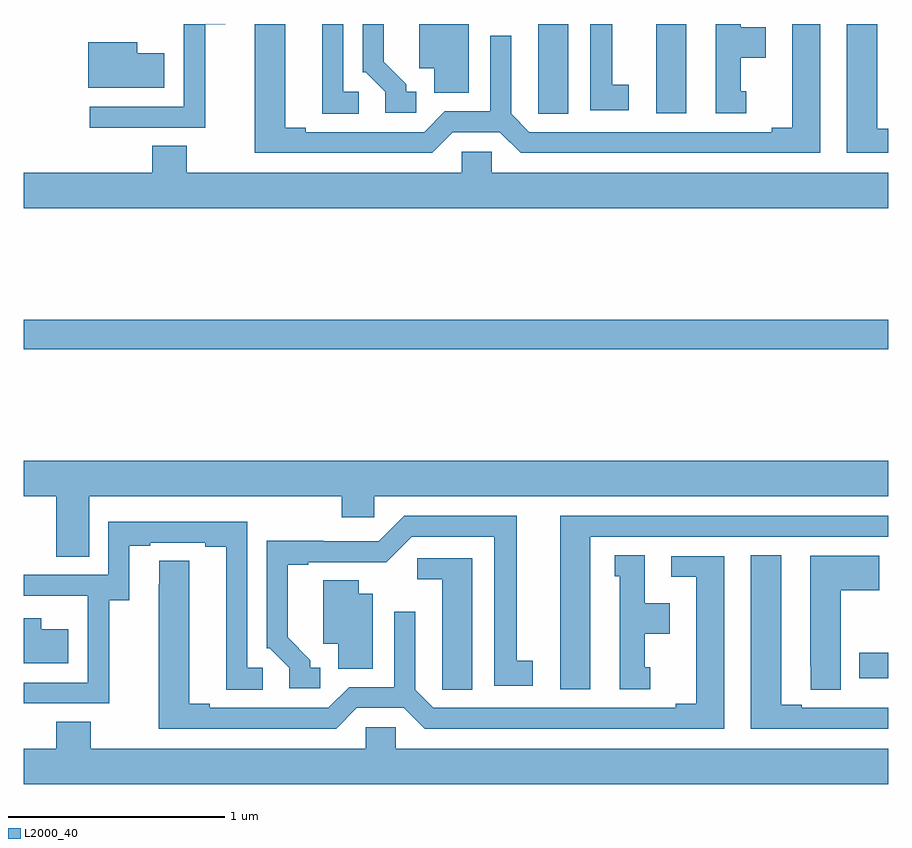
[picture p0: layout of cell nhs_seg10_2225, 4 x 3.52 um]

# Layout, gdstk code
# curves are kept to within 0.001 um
import gdstk
lib = gdstk.Library(unit=1e-6, precision=1e-09)
def R(c, l, rs):  # rectangles x0, y0, x1, y1
    for r in rs: c.add(gdstk.rectangle(r[:2], r[2:], *l))
def P(c, l, *ps):  # polygons
    for p in ps: c.add(gdstk.Polygon(p, *l))
L2000_40 = (2000, 40)

nhs_seg10_2225 = lib.new_cell('nhs_seg10_2225')
R(nhs_seg10_2225, L2000_40, [(232.865,1299.474,233,1299.591), (229,1300.996,233,1301.132), (231.926,1302.087,232.066,1302.5)])
P(nhs_seg10_2225, L2000_40, [(230.551,1302.186),(230.478,1302.186),(230.478,1302.5),(230.381,1302.5),(230.381,1302.085),(230.551,1302.085)],
  [(229.839,1302.499),(229.933,1302.499),(229.933,1302.5),(229.74,1302.5),(229.74,1302.117),(229.305,1302.117),(229.305,1302.021),(229.839,1302.021)],
  [(233,1302.015),(232.948,1302.015),(232.948,1302.5),(232.808,1302.5),(232.808,1301.904),(233,1301.904)],
  [(231.52,1302.5),(231.38,1302.5),(231.38,1302.193),(231.381,1302.193),(231.381,1302.085),(231.52,1302.085)],
  [(231.058,1302.5),(230.831,1302.5),(230.831,1302.296),(230.9,1302.296),(230.9,1302.181),(231.058,1302.181)],
  [(230.985,1302),(231.203,1302),(231.299,1301.904),(232.684,1301.904),(232.684,1302.5),(232.556,1302.5),(232.556,1302.02),(232.46,1302.02),(232.46,1302),(231.339,1302),(231.255,1302.084),(231.255,1302.445),(231.159,1302.445),(231.159,1302.096),(230.949,1302.096),(230.853,1302),(230.305,1302),(230.305,1302.02),(230.209,1302.02),(230.209,1302.5),(230.069,1302.5),(230.069,1301.904),(230.889,1301.904)],
  [(232.342,1302.189),(232.318,1302.189),(232.318,1302.344),(232.432,1302.344),(232.432,1302.484),(232.318,1302.484),(232.318,1302.5),(232.202,1302.5),(232.202,1302.087),(232.342,1302.087)],
  [(231.799,1302.218),(231.724,1302.218),(231.724,1302.5),(231.62,1302.5),(231.62,1302.102),(231.799,1302.102)],
  [(230.815,1302.186),(230.77,1302.186),(230.77,1302.221),(230.665,1302.326),(230.665,1302.5),(230.568,1302.5),(230.568,1302.276),(230.583,1302.276),(230.673,1302.186),(230.673,1302.09),(230.815,1302.09)],
  [(229.651,1302.364),(229.525,1302.364),(229.525,1302.415),(229.298,1302.415),(229.298,1302.206),(229.651,1302.206)],
  [(233,1301.812),(231.165,1301.812),(231.165,1301.91),(231.027,1301.91),(231.027,1301.812),(229.755,1301.812),(229.755,1301.936),(229.595,1301.936),(229.595,1301.812),(229,1301.812),(229,1301.648),(233,1301.648)],
  [(229.303,1300.316),(230.471,1300.316),(230.471,1300.218),(230.622,1300.218),(230.622,1300.316),(233,1300.316),(233,1300.48),(229,1300.48),(229,1300.316),(229.151,1300.316),(229.151,1300.036),(229.303,1300.036)],
  [(230.371,1299.522),(230.326,1299.522),(230.326,1299.557),(230.221,1299.662),(230.221,1299.999),(230.317,1299.999),(230.317,1300.011),(230.678,1300.01),(230.796,1300.128),(231.176,1300.128),(231.176,1299.438),(231.355,1299.438),(231.355,1299.554),(231.28,1299.554),(231.28,1300.224),(230.76,1300.224),(230.643,1300.107),(230.387,1300.107),(230.387,1300.109),(230.124,1300.109),(230.124,1299.612),(230.139,1299.612),(230.229,1299.522),(230.229,1299.426),(230.371,1299.426)],
  [(231.622,1300.128),(233,1300.128),(233,1300.224),(231.482,1300.224),(231.482,1299.423),(231.622,1299.423)],
  [(229.395,1299.835),(229.489,1299.835),(229.489,1300.086),(229.585,1300.086),(229.585,1300.101),(229.841,1300.101),(229.841,1300.081),(229.937,1300.081),(229.937,1299.421),(230.107,1299.421),(230.107,1299.522),(230.034,1299.522),(230.034,1300.197),(229.392,1300.197),(229.392,1299.951),(229,1299.951),(229,1299.855),(229.295,1299.855),(229.295,1299.854),(229.296,1299.854),(229.296,1299.453),(229,1299.453),(229,1299.357),(229.395,1299.357)],
  [(233,1299.337),(232.876,1299.337),(232.876,1299.336),(232.6,1299.336),(232.6,1299.351),(232.504,1299.351),(232.504,1300.043),(232.364,1300.043),(232.364,1299.24),(233,1299.24)],
  [(231.898,1299.525),(231.874,1299.525),(231.874,1299.68),(231.988,1299.68),(231.988,1299.82),(231.874,1299.82),(231.874,1300.043),(231.734,1300.043),(231.734,1299.945),(231.758,1299.945),(231.758,1299.423),(231.898,1299.423)],
  [(232.78,1299.88),(232.957,1299.88),(232.957,1300.039),(232.64,1300.039),(232.64,1299.529),(232.641,1299.529),(232.641,1299.421),(232.78,1299.421)],
  [(230.541,1299.336),(230.759,1299.336),(230.855,1299.24),(232.24,1299.24),(232.24,1300.038),(231.996,1300.038),(231.996,1299.942),(232.112,1299.942),(232.112,1299.356),(232.016,1299.356),(232.016,1299.336),(230.895,1299.336),(230.811,1299.42),(230.811,1299.781),(230.715,1299.781),(230.715,1299.432),(230.505,1299.432),(230.409,1299.336),(229.861,1299.336),(229.861,1299.356),(229.765,1299.356),(229.765,1300.016),(229.626,1300.016),(229.625,1299.24),(230.445,1299.24)],
  [(231.076,1300.029),(230.82,1300.029),(230.82,1299.932),(230.936,1299.932),(230.936,1299.529),(230.937,1299.529),(230.937,1299.421),(231.076,1299.421)],
  [(230.614,1299.865),(230.551,1299.865),(230.551,1299.926),(230.387,1299.926),(230.387,1299.632),(230.456,1299.632),(230.456,1299.517),(230.614,1299.517)],
  [(229.207,1299.7),(229.081,1299.7),(229.081,1299.751),(229,1299.751),(229,1299.542),(229.207,1299.542)],
  [(233,1299.148),(230.721,1299.148),(230.721,1299.246),(230.583,1299.246),(230.583,1299.148),(229.311,1299.148),(229.311,1299.272),(229.151,1299.272),(229.151,1299.148),(229,1299.148),(229,1298.984),(233,1298.984)])

lib.write_gds('nhs_seg10_2225.gds')
